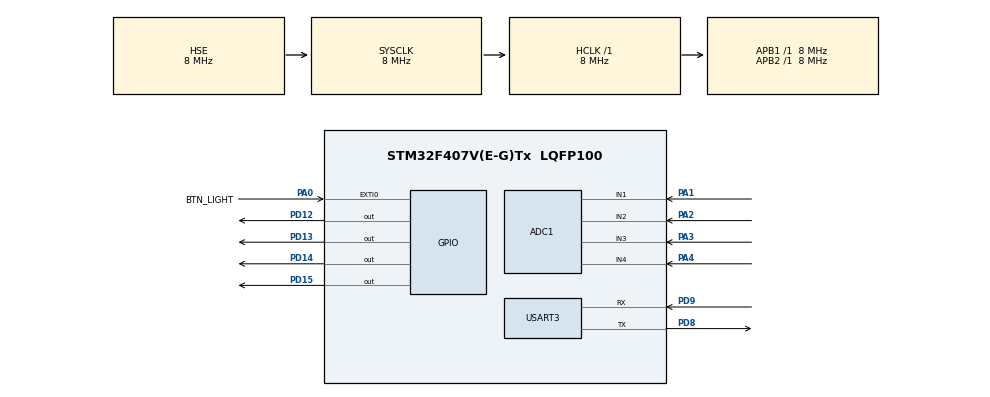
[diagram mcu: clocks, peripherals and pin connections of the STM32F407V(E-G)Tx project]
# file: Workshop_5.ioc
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ADC1.Channel-3\#ChannelRegularConversion=ADC_CHANNEL_1
ADC1.ClockPrescaler=ADC_CLOCK_SYNC_PCLK_DIV8
ADC1.NbrOfConversionFlag=1
ADC1.Rank-3\#ChannelRegularConversion=1
ADC1.SamplingTime-3\#ChannelRegularConversion=ADC_SAMPLETIME_480CYCLES
ADC1.master=1
Mcu.Family=STM32F4
Mcu.Name=STM32F407V(E-G)Tx
Mcu.Package=LQFP100
NVIC.ADC_IRQn=true\:0\:0\:false\:false\:true\:true\:true\:true
NVIC.EXTI0_IRQn=true\:0\:0\:false\:false\:true\:true\:true\:true
NVIC.PriorityGroup=NVIC_PRIORITYGROUP_4
NVIC.TIM2_IRQn=true\:0\:0\:false\:false\:true\:true\:true\:true
NVIC.TIM3_IRQn=true\:0\:0\:false\:false\:true\:true\:true\:true
NVIC.TIM4_IRQn=true\:0\:0\:false\:false\:true\:true\:true\:true
NVIC.TIM8_BRK_TIM12_IRQn=true\:0\:0\:false\:false\:true\:true\:true\:true
PA0-WKUP.GPIO_Label=BTN_LIGHT
PA0-WKUP.Signal=GPXTI0
PA1.Signal=ADCx_IN1
PA2.Signal=ADCx_IN2
PA3.Signal=ADCx_IN3
PA4.Signal=ADCx_IN4
PD12.Signal=GPIO_Output
PD13.Signal=GPIO_Output
PD14.Signal=GPIO_Output
PD15.Signal=GPIO_Output
PD8.Mode=Asynchronous
PD8.Signal=USART3_TX
PD9.Mode=Asynchronous
PD9.Signal=USART3_RX
PH0-OSC_IN.Mode=HSE-External-Oscillator
PH0-OSC_IN.Signal=RCC_OSC_IN
PH1-OSC_OUT.Mode=HSE-External-Oscillator
PH1-OSC_OUT.Signal=RCC_OSC_OUT
ProjectManager.HeapSize=0x200
ProjectManager.StackSize=0x400
ProjectManager.TargetToolchain=STM32CubeIDE
RCC.48MHZClocksFreq_Value=24000000
RCC.AHBFreq_Value=8000000
RCC.APB1Freq_Value=8000000
RCC.APB1TimFreq_Value=8000000
RCC.APB2Freq_Value=8000000
RCC.APB2TimFreq_Value=8000000
RCC.CortexFreq_Value=8000000
RCC.HCLKFreq_Value=8000000
RCC.HSE_VALUE=8000000
RCC.HSI_VALUE=16000000
RCC.LSE_VALUE=32768
RCC.PLLSourceVirtual=RCC_PLLSOURCE_HSE
RCC.SYSCLKFreq_VALUE=8000000
RCC.SYSCLKSource=RCC_SYSCLKSOURCE_HSE
RCC.VCOOutputFreq_Value=96000000
SH.ADCx_IN1.0=ADC1_IN1,IN1
SH.ADCx_IN2.0=ADC1_IN2,IN2
SH.ADCx_IN3.0=ADC1_IN3,IN3
SH.ADCx_IN4.0=ADC1_IN4,IN4
TIM12.AutoReloadPreload=TIM_AUTORELOAD_PRELOAD_ENABLE
TIM12.Period=999
TIM12.Prescaler=499
TIM2.AutoReloadPreload=TIM_AUTORELOAD_PRELOAD_ENABLE
TIM2.Period=999
TIM2.Prescaler=999
TIM3.AutoReloadPreload=TIM_AUTORELOAD_PRELOAD_ENABLE
TIM3.Period=999
TIM3.Prescaler=1999
TIM4.AutoReloadPreload=TIM_AUTORELOAD_PRELOAD_ENABLE
TIM4.CounterMode=TIM_COUNTERMODE_DOWN
TIM4.Period=999
TIM4.Prescaler=249
USART3.VirtualMode=VM_ASYNC
VP_TIM12_VS_ClockSourceINT.Mode=Internal
VP_TIM2_VS_ClockSourceINT.Mode=Internal
VP_TIM3_VS_ClockSourceINT.Mode=Internal
VP_TIM4_VS_ClockSourceINT.Mode=Internal
board=custom

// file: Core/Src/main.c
/* USER CODE BEGIN Header */
/**
  ******************************************************************************
  * @file           : main.c
  * @brief          : Main program body
  ******************************************************************************
  * @attention
  *
  * Copyright (c) 2024 STMicroelectronics.
  * All rights reserved.
  *
  * This software is licensed under terms that can be found in the LICENSE file
  * in the root directory of this software component.
  * If no LICENSE file comes with this software, it is provided AS-IS.
  *
  ******************************************************************************
  */
/* USER CODE END Header */
#include "main.h"

/* USER CODE BEGIN Includes */
#include "stdbool.h"
#include <stdio.h>
#include <string.h>
/* USER CODE END Includes */

/* USER CODE BEGIN PTD */
typedef enum {
    POTENTIOMETER_ORANGE = 0,
    POTENTIOMETER_RED,
    POTENTIOMETER_BLUE,
    POTENTIOMETER_GREEN,
	POTENTIOMETER_COUNT
} Potentiometer;
/* USER CODE END PTD */

/* USER CODE BEGIN PD */
#define TIME_PRINT_ADC			10000
#define UART_INPUT_1			'1'
#define UART_INPUT_2			'2'
#define UART_INPUT_3			'3'
#define UART_INPUT_4			'4'
#define MAX_MESSAGE_LENGTH		50
/* USER CODE END PD */

ADC_HandleTypeDef hadc1;

TIM_HandleTypeDef htim2;
TIM_HandleTypeDef htim3;
TIM_HandleTypeDef htim4;
TIM_HandleTypeDef htim12;

UART_HandleTypeDef huart3;

/* USER CODE BEGIN PV */
// Variables to control blinking state with UART
bool ledBlinking1 = 0;
bool ledBlinking2 = 0;
bool ledBlinking3 = 0;
bool ledBlinking4 = 0;
// Variable to share with button interrupt
extern bool btn_status;
/* USER CODE END PV */

void SystemClock_Config(void);
static void MX_GPIO_Init(void);
static void MX_ADC1_Init(void);
static void MX_TIM4_Init(void);
static void MX_USART3_UART_Init(void);
static void MX_TIM3_Init(void);
static void MX_TIM2_Init(void);
static void MX_TIM12_Init(void);
/* USER CODE BEGIN PFP */
void Print_ADC_Values(void);
/* USER CODE END PFP */

int main(void)
{

  /* MCU Configuration--------------------------------------------------------*/

  /* Reset of all peripherals, Initializes the Flash interface and the Systick. */
  HAL_Init();

  /* Configure the system clock */
  SystemClock_Config();

  /* Initialize all configured peripherals */
  MX_GPIO_Init();
  MX_ADC1_Init();
  MX_TIM4_Init();
  MX_USART3_UART_Init();
  MX_TIM3_Init();
  MX_TIM2_Init();
  MX_TIM12_Init();

  /* Infinite loop */
  /* USER CODE BEGIN WHILE */
  HAL_ADC_Start_IT(&hadc1);
  while (1)
  {
	  if (btn_status == 1)
	  {
	      uint8_t rcvBuf[1];
	      HAL_StatusTypeDef result;
	      result = HAL_UART_Receive(&huart3, rcvBuf, 1, 10);

	      if (result == HAL_OK) {
	          switch (rcvBuf[0]) {
	              case UART_INPUT_1:
	                  ledBlinking1 = !ledBlinking1;
	                  if (ledBlinking1)
	                  {
	                      HAL_TIM_Base_Start_IT(&htim2);
	                      HAL_UART_Transmit(&huart3, (uint8_t *)" - GREEN_ON \r\n", 14, 100);
	                  } else
	                  {
	                      HAL_TIM_Base_Stop_IT(&htim2);
	                      HAL_UART_Transmit(&huart3, (uint8_t *)" - GREEN_OFF \r\n", 14, 100);
	                      HAL_GPIO_WritePin(GPIOD, GPIO_PIN_12, GPIO_PIN_RESET);
	                  }
	                  break;
	              case UART_INPUT_2:
	                  ledBlinking2 = !ledBlinking2;
	                  if (ledBlinking2)
	                  {
	                      HAL_TIM_Base_Start_IT(&htim3);
	                      HAL_UART_Transmit(&huart3, (uint8_t *)" - ORANGE_ON \r\n", 14, 100);
	                  } else
	                  {
	                      HAL_TIM_Base_Stop_IT(&htim3);
	                      HAL_UART_Transmit(&huart3, (uint8_t *)" - ORANGE_OFF \r\n", 14, 100);
	                      HAL_GPIO_WritePin(GPIOD, GPIO_PIN_13, GPIO_PIN_RESET);
	                  }
	                  break;
	              case UART_INPUT_3:
	                  ledBlinking3 = !ledBlinking3;
	                  if (ledBlinking3)
	                  {
	                      HAL_TIM_Base_Start_IT(&htim4);
	                      HAL_UART_Transmit(&huart3, (uint8_t *)" - RED_ON \r\n", 14, 100);
	                  } else
	                  {
	                      HAL_TIM_Base_Stop_IT(&htim4);
	                      HAL_UART_Transmit(&huart3, (uint8_t *)" - RED_OFF \r\n", 14, 100);
	                      HAL_GPIO_WritePin(GPIOD, GPIO_PIN_14, GPIO_PIN_RESET);
	                  }
	                  break;
	              case UART_INPUT_4:
	                  ledBlinking4 = !ledBlinking4;
	                  if (ledBlinking4)
	                  {
	                      HAL_TIM_Base_Start_IT(&htim12);
	                      HAL_UART_Transmit(&huart3, (uint8_t *)" - BLUE_ON \r\n", 14, 100);
	                  } else
	                  {
	                      HAL_TIM_Base_Stop_IT(&htim12);
	                      HAL_UART_Transmit(&huart3, (uint8_t *)" - BLUE_OFF \r\n", 14, 100);
	                      HAL_GPIO_WritePin(GPIOD, GPIO_PIN_15, GPIO_PIN_RESET);
	                  }
	                  break;
	              default:
	                  HAL_UART_Transmit(&huart3, (uint8_t *)" - WRONG_INPUT \r\n", 12, 100);
	                  break;
	          }
	      }
	  }
      // At the end of while loop print ADC values every 10 seconds
	  Print_ADC_Values();

  }
      // Get the values from potentiometers and display them
    /* USER CODE END WHILE */

}

void SystemClock_Config(void)
{
  RCC_OscInitTypeDef RCC_OscInitStruct = {0};
  RCC_ClkInitTypeDef RCC_ClkInitStruct = {0};

  /** Configure the main internal regulator output voltage
  */
  __HAL_RCC_PWR_CLK_ENABLE();
  __HAL_PWR_VOLTAGESCALING_CONFIG(PWR_REGULATOR_VOLTAGE_SCALE1);

  /** Initializes the RCC Oscillators according to the specified parameters
  * in the RCC_OscInitTypeDef structure.
  */
  RCC_OscInitStruct.OscillatorType = RCC_OSCILLATORTYPE_HSE;
  RCC_OscInitStruct.HSEState = RCC_HSE_ON;
  RCC_OscInitStruct.PLL.PLLState = RCC_PLL_NONE;
  if (HAL_RCC_OscConfig(&RCC_OscInitStruct) != HAL_OK)
  {
    Error_Handler();
  }

  /** Initializes the CPU, AHB and APB buses clocks
  */
  RCC_ClkInitStruct.ClockType = RCC_CLOCKTYPE_HCLK|RCC_CLOCKTYPE_SYSCLK
                              |RCC_CLOCKTYPE_PCLK1|RCC_CLOCKTYPE_PCLK2;
  RCC_ClkInitStruct.SYSCLKSource = RCC_SYSCLKSOURCE_HSE;
  RCC_ClkInitStruct.AHBCLKDivider = RCC_SYSCLK_DIV1;
  RCC_ClkInitStruct.APB1CLKDivider = RCC_HCLK_DIV1;
  RCC_ClkInitStruct.APB2CLKDivider = RCC_HCLK_DIV1;

  if (HAL_RCC_ClockConfig(&RCC_ClkInitStruct, FLASH_LATENCY_0) != HAL_OK)
  {
    Error_Handler();
  }
}

static void MX_ADC1_Init(void)
{

  ADC_ChannelConfTypeDef sConfig = {0};

  /** Configure the global features of the ADC (Clock, Resolution, Data Alignment and number of conversion)
  */
  hadc1.Instance = ADC1;
  hadc1.Init.ClockPrescaler = ADC_CLOCK_SYNC_PCLK_DIV8;
  hadc1.Init.Resolution = ADC_RESOLUTION_12B;
  hadc1.Init.ScanConvMode = DISABLE;
  hadc1.Init.ContinuousConvMode = DISABLE;
  hadc1.Init.DiscontinuousConvMode = DISABLE;
  hadc1.Init.ExternalTrigConvEdge = ADC_EXTERNALTRIGCONVEDGE_NONE;
  hadc1.Init.ExternalTrigConv = ADC_SOFTWARE_START;
  hadc1.Init.DataAlign = ADC_DATAALIGN_RIGHT;
  hadc1.Init.NbrOfConversion = 1;
  hadc1.Init.DMAContinuousRequests = DISABLE;
  hadc1.Init.EOCSelection = ADC_EOC_SINGLE_CONV;
  if (HAL_ADC_Init(&hadc1) != HAL_OK)
  {
    Error_Handler();
  }

  /** Configure for the selected ADC regular channel its corresponding rank in the sequencer and its sample time.
  */
  sConfig.Channel = ADC_CHANNEL_1;
  sConfig.Rank = 1;
  sConfig.SamplingTime = ADC_SAMPLETIME_480CYCLES;
  if (HAL_ADC_ConfigChannel(&hadc1, &sConfig) != HAL_OK)
  {
    Error_Handler();
  }

}

static void MX_TIM2_Init(void)
{

  TIM_ClockConfigTypeDef sClockSourceConfig = {0};
  TIM_MasterConfigTypeDef sMasterConfig = {0};

  htim2.Instance = TIM2;
  htim2.Init.Prescaler = 999;
  htim2.Init.CounterMode = TIM_COUNTERMODE_UP;
  htim2.Init.Period = 999;
  htim2.Init.ClockDivision = TIM_CLOCKDIVISION_DIV1;
  htim2.Init.AutoReloadPreload = TIM_AUTORELOAD_PRELOAD_ENABLE;
  if (HAL_TIM_Base_Init(&htim2) != HAL_OK)
  {
    Error_Handler();
  }
  sClockSourceConfig.ClockSource = TIM_CLOCKSOURCE_INTERNAL;
  if (HAL_TIM_ConfigClockSource(&htim2, &sClockSourceConfig) != HAL_OK)
  {
    Error_Handler();
  }
  sMasterConfig.MasterOutputTrigger = TIM_TRGO_RESET;
  sMasterConfig.MasterSlaveMode = TIM_MASTERSLAVEMODE_DISABLE;
  if (HAL_TIMEx_MasterConfigSynchronization(&htim2, &sMasterConfig) != HAL_OK)
  {
    Error_Handler();
  }

}

static void MX_TIM3_Init(void)
{

  TIM_ClockConfigTypeDef sClockSourceConfig = {0};
  TIM_MasterConfigTypeDef sMasterConfig = {0};

  htim3.Instance = TIM3;
  htim3.Init.Prescaler = 1999;
  htim3.Init.CounterMode = TIM_COUNTERMODE_UP;
  htim3.Init.Period = 999;
  htim3.Init.ClockDivision = TIM_CLOCKDIVISION_DIV1;
  htim3.Init.AutoReloadPreload = TIM_AUTORELOAD_PRELOAD_ENABLE;
  if (HAL_TIM_Base_Init(&htim3) != HAL_OK)
  {
    Error_Handler();
  }
  sClockSourceConfig.ClockSource = TIM_CLOCKSOURCE_INTERNAL;
  if (HAL_TIM_ConfigClockSource(&htim3, &sClockSourceConfig) != HAL_OK)
  {
    Error_Handler();
  }
  sMasterConfig.MasterOutputTrigger = TIM_TRGO_RESET;
  sMasterConfig.MasterSlaveMode = TIM_MASTERSLAVEMODE_DISABLE;
  if (HAL_TIMEx_MasterConfigSynchronization(&htim3, &sMasterConfig) != HAL_OK)
  {
    Error_Handler();
  }

}

static void MX_TIM4_Init(void)
{

  TIM_ClockConfigTypeDef sClockSourceConfig = {0};
  TIM_MasterConfigTypeDef sMasterConfig = {0};

  htim4.Instance = TIM4;
  htim4.Init.Prescaler = 249;
  htim4.Init.CounterMode = TIM_COUNTERMODE_DOWN;
  htim4.Init.Period = 999;
  htim4.Init.ClockDivision = TIM_CLOCKDIVISION_DIV1;
  htim4.Init.AutoReloadPreload = TIM_AUTORELOAD_PRELOAD_ENABLE;
  if (HAL_TIM_Base_Init(&htim4) != HAL_OK)
  {
    Error_Handler();
  }
  sClockSourceConfig.ClockSource = TIM_CLOCKSOURCE_INTERNAL;
  if (HAL_TIM_ConfigClockSource(&htim4, &sClockSourceConfig) != HAL_OK)
  {
    Error_Handler();
  }
  sMasterConfig.MasterOutputTrigger = TIM_TRGO_RESET;
  sMasterConfig.MasterSlaveMode = TIM_MASTERSLAVEMODE_DISABLE;
  if (HAL_TIMEx_MasterConfigSynchronization(&htim4, &sMasterConfig) != HAL_OK)
  {
    Error_Handler();
  }

}

static void MX_TIM12_Init(void)
{

  TIM_ClockConfigTypeDef sClockSourceConfig = {0};

  htim12.Instance = TIM12;
  htim12.Init.Prescaler = 499;
  htim12.Init.CounterMode = TIM_COUNTERMODE_UP;
  htim12.Init.Period = 999;
  htim12.Init.ClockDivision = TIM_CLOCKDIVISION_DIV1;
  htim12.Init.AutoReloadPreload = TIM_AUTORELOAD_PRELOAD_ENABLE;
  if (HAL_TIM_Base_Init(&htim12) != HAL_OK)
  {
    Error_Handler();
  }
  sClockSourceConfig.ClockSource = TIM_CLOCKSOURCE_INTERNAL;
  if (HAL_TIM_ConfigClockSource(&htim12, &sClockSourceConfig) != HAL_OK)
  {
    Error_Handler();
  }

}

static void MX_USART3_UART_Init(void)
{

  huart3.Instance = USART3;
  huart3.Init.BaudRate = 115200;
  huart3.Init.WordLength = UART_WORDLENGTH_8B;
  huart3.Init.StopBits = UART_STOPBITS_1;
  huart3.Init.Parity = UART_PARITY_NONE;
  huart3.Init.Mode = UART_MODE_TX_RX;
  huart3.Init.HwFlowCtl = UART_HWCONTROL_NONE;
  huart3.Init.OverSampling = UART_OVERSAMPLING_16;
  if (HAL_UART_Init(&huart3) != HAL_OK)
  {
    Error_Handler();
  }

}

static void MX_GPIO_Init(void)
{
  GPIO_InitTypeDef GPIO_InitStruct = {0};

  /* GPIO Ports Clock Enable */
  __HAL_RCC_GPIOH_CLK_ENABLE();
  __HAL_RCC_GPIOA_CLK_ENABLE();
  __HAL_RCC_GPIOD_CLK_ENABLE();

  /*Configure GPIO pin Output Level */
  HAL_GPIO_WritePin(GPIOD, GPIO_PIN_12|GPIO_PIN_13|GPIO_PIN_14|GPIO_PIN_15, GPIO_PIN_RESET);

  /*Configure GPIO pin : BTN_LIGHT_Pin */
  GPIO_InitStruct.Pin = BTN_LIGHT_Pin;
  GPIO_InitStruct.Mode = GPIO_MODE_IT_RISING;
  GPIO_InitStruct.Pull = GPIO_NOPULL;
  HAL_GPIO_Init(BTN_LIGHT_GPIO_Port, &GPIO_InitStruct);

  /*Configure GPIO pins : PD12 PD13 PD14 PD15 */
  GPIO_InitStruct.Pin = GPIO_PIN_12|GPIO_PIN_13|GPIO_PIN_14|GPIO_PIN_15;
  GPIO_InitStruct.Mode = GPIO_MODE_OUTPUT_PP;
  GPIO_InitStruct.Pull = GPIO_NOPULL;
  GPIO_InitStruct.Speed = GPIO_SPEED_FREQ_LOW;
  HAL_GPIO_Init(GPIOD, &GPIO_InitStruct);

  /* EXTI interrupt init*/
  HAL_NVIC_SetPriority(EXTI0_IRQn, 0, 0);
  HAL_NVIC_EnableIRQ(EXTI0_IRQn);

}

/* USER CODE BEGIN 4 */
void Print_ADC_Values(void) {
    // Variable to track the current ADC channel
    static uint32_t adcValues[POTENTIOMETER_COUNT] = {0}; // Array to store ADC values for each channel
    static uint32_t lastInterrupt = 0;
    uint32_t currentInterrupt = HAL_GetTick();

    if (currentInterrupt - lastInterrupt > TIME_PRINT_ADC)
    {
        // Read ADC values from all four channels
        for (Potentiometer pot = POTENTIOMETER_ORANGE; pot < POTENTIOMETER_COUNT; pot++)
        {
            // Configure ADC channel
            ADC_ChannelConfTypeDef sConfig = {0};
            sConfig.Channel = ADC_CHANNEL_1 + pot;
            sConfig.Rank = 1;
            sConfig.SamplingTime = ADC_SAMPLETIME_480CYCLES;
            HAL_ADC_ConfigChannel(&hadc1, &sConfig);

            // Start ADC conversion
            HAL_ADC_Start(&hadc1);

            // Wait for ADC conversion to complete
            if (HAL_ADC_PollForConversion(&hadc1, 100) == HAL_OK)
            {
                // Read ADC value
                adcValues[pot] = HAL_ADC_GetValue(&hadc1);
            }
        }

        // Print the ADC values for all channels
        char message[MAX_MESSAGE_LENGTH];
        for (Potentiometer pot = POTENTIOMETER_ORANGE; pot < POTENTIOMETER_COUNT; pot++)
        {
            sprintf(message, "Potentiometer %d ADC Value: %lu\r\n", pot + 1, adcValues[pot]);
            HAL_UART_Transmit(&huart3, (uint8_t *)message, strlen(message), 100);
        }

        lastInterrupt = currentInterrupt;
    }
}

/* USER CODE END 4 */

void Error_Handler(void)
{
  __disable_irq();
  while (1)
  {
  }
}
